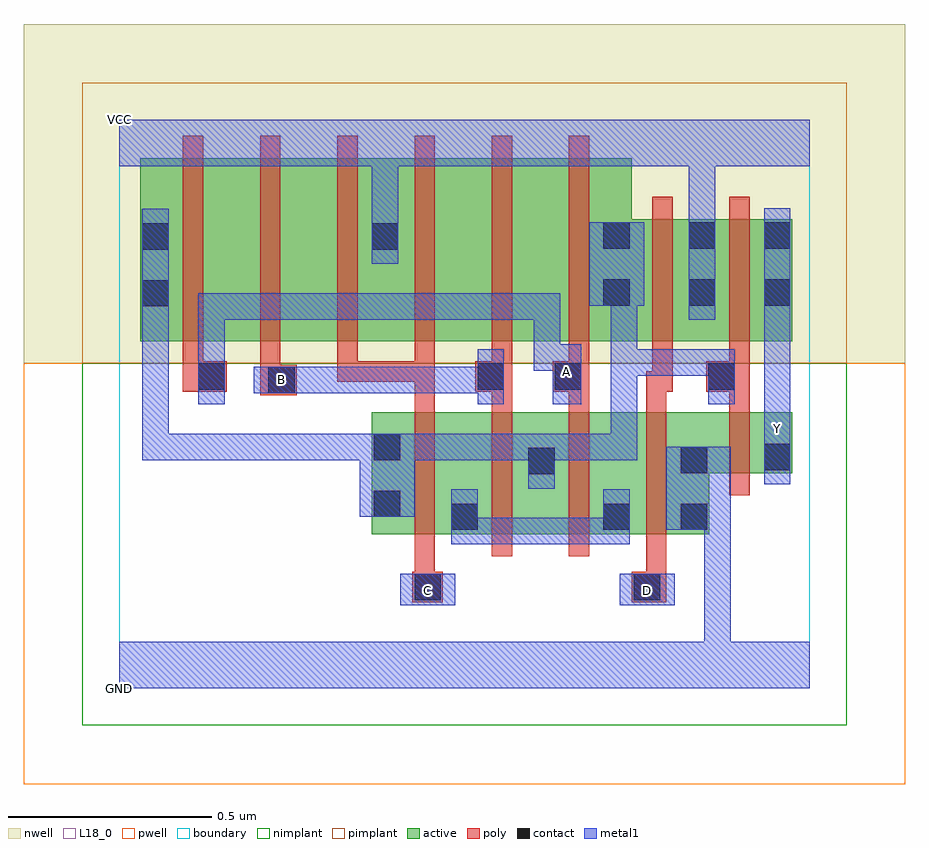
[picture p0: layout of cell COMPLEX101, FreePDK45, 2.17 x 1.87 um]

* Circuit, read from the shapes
.subckt COMPLEX101 A B C D GND VCC Y
M1 n1 C n2 VSUBS nfet w=0.3u l=0.05u
M2 n2 B n1 VSUBS nfet w=0.3u l=0.05u
M3 n1 A n2 VSUBS nfet w=0.3u l=0.05u
M4 GND D n1 VSUBS nfet w=0.3u l=0.05u
M5 Y n2 GND VSUBS nfet w=0.15u l=0.05u
M6 n3 A n2 n4 pfet w=0.45u l=0.05u
M7 n5 B n3 n4 pfet w=0.45u l=0.05u
M8 VCC C n5 n4 pfet w=0.45u l=0.05u
M9 n6 C VCC n4 pfet w=0.45u l=0.05u
M10 n7 B n6 n4 pfet w=0.45u l=0.05u
M11 n2 A n7 n4 pfet w=0.45u l=0.05u
M12 VCC D n2 n4 pfet w=0.3u l=0.05u
M13 Y n2 VCC n4 pfet w=0.3u l=0.05u
.ends

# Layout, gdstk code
import gdstk
lib = gdstk.Library(unit=1e-6, precision=1e-09)
def R(c, l, rs):  # rectangles x0, y0, x1, y1
    for r in rs: c.add(gdstk.rectangle(r[:2], r[2:], *l))
def A(c, l, x, y, w, h, nx, ny, dx, dy):  # array of equal rectangles
    R(c, l, [(x+i*dx, y+j*dy, x+i*dx+w, y+j*dy+h) for i in range(nx) for j in range(ny)])
active = (1, 0)
pwell = (2, 0)
nwell = (3, 0)
nimplant = (4, 0)
pimplant = (5, 0)
poly = (9, 0)
contact = (10, 0)
metal1 = (11, 0)
L18_0 = (18, 0)
boundary = (235, 0)

complex101 = lib.new_cell('COMPLEX101')
R(complex101, active, [(0.622,0.38,0.697,0.68), (0.622,0.38,0.887,0.68), (0.812,0.38,1.077,0.68), (0.812,0.38,0.887,0.547), (1.002,0.38,1.262,0.68), (1.187,0.38,1.452,0.68), (1.377,0.38,1.452,0.68), (1.002,0.382,1.077,0.68), (1.187,0.382,1.262,0.492), (1.377,0.53,1.657,0.68), (1.582,0.53,1.657,0.68), (0.052,0.855,0.277,1.305), (0.052,0.855,0.157,1.2), (0.277,0.855,0.467,1.305), (0.467,0.855,0.692,1.305), (0.617,0.855,0.847,1.305), (0.847,0.855,1.037,1.305), (1.037,0.855,1.262,1.305), (1.187,0.855,1.472,1.155), (1.187,0.855,1.262,1.2), (1.397,0.855,1.472,1.155), (1.397,0.855,1.657,1.155), (1.582,0.855,1.657,1.155), (0.617,0.857,0.692,1.305)])
R(complex101, pwell, [(-0.235,-0.235,1.935,0.8)])
R(complex101, nwell, [(-0.235,0.8,1.935,1.635)])
R(complex101, nimplant, [(-0.09,-0.09,1.79,0.8)])
R(complex101, pimplant, [(-0.09,0.8,1.79,1.49)])
A(complex101, poly, 0.727, 0.325, 0.05, 0.41, 4, 1, 0.19, 0)
A(complex101, poly, 0.917, 0.685, 0.05, 0.095, 3, 1, 0.19, 0)
A(complex101, poly, 0.537, 0.755, 0.05, 0.095, 4, 1, 0.19, 0)
A(complex101, poly, 0.157, 0.8, 0.05, 0.56, 6, 1, 0.19, 0)
R(complex101, poly, [(0.722,0.212,0.797,0.287), (1.262,0.212,1.347,0.287), (0.727,0.237,0.777,0.375), (1.297,0.237,1.347,0.375), (1.502,0.475,1.552,0.735), (0.727,0.685,0.777,0.805), (1.502,0.685,1.552,0.78), (0.347,0.722,0.437,0.797), (0.157,0.73,0.265,0.805), (0.877,0.73,0.967,0.805), (1.067,0.73,1.157,0.805), (1.297,0.73,1.362,0.78), (1.312,0.73,1.362,0.85), (1.445,0.73,1.552,0.805), (0.347,0.747,0.397,0.85), (0.157,0.755,0.207,0.85), (0.537,0.755,0.587,0.805), (0.537,0.755,0.777,0.805), (0.727,0.755,0.777,0.805), (0.727,0.755,0.777,0.805), (0.727,0.755,0.777,0.805), (1.502,0.755,1.552,0.85), (1.312,0.8,1.362,1.21), (1.502,0.8,1.552,1.21)])
R(complex101, contact, [(0.727,0.217,0.792,0.282), (1.267,0.217,1.332,0.282), (0.817,0.39,0.882,0.455), (1.192,0.39,1.257,0.455), (1.382,0.39,1.447,0.455), (0.627,0.422,0.692,0.487), (1.007,0.527,1.072,0.592), (1.382,0.53,1.447,0.595), (1.587,0.537,1.652,0.602), (0.627,0.562,0.692,0.627), (0.367,0.727,0.432,0.792), (0.195,0.735,0.26,0.8), (0.882,0.735,0.947,0.8), (1.072,0.735,1.137,0.8), (1.45,0.735,1.515,0.8), (0.057,0.94,0.122,1.005), (1.192,0.942,1.257,1.007), (1.402,0.942,1.467,1.007), (1.587,0.942,1.652,1.007), (0.057,1.08,0.122,1.145), (0.622,1.08,0.687,1.145), (1.192,1.082,1.257,1.147), (1.402,1.082,1.467,1.147), (1.587,1.082,1.652,1.147)])
R(complex101, metal1, [(0,0,1.7,0.115), (1.44,0.05,1.505,0.115), (1.44,0.05,1.505,0.115), (1.44,0.05,1.505,0.115), (1.44,0.05,1.505,0.115), (1.44,0.05,1.505,0.115), (1.44,0.05,1.505,0.115), (1.44,0.05,1.505,0.455), (0.692,0.205,0.827,0.282), (1.232,0.205,1.367,0.282), (0.817,0.355,0.882,0.42), (0.817,0.355,0.882,0.42), (0.817,0.355,0.882,0.49), (0.817,0.355,1.085,0.42), (1.02,0.355,1.085,0.42), (1.02,0.355,1.085,0.42), (1.02,0.355,1.085,0.42), (1.02,0.355,1.257,0.42), (1.192,0.355,1.257,0.49), (1.347,0.39,1.505,0.595), (0.592,0.422,0.727,0.627), (1.007,0.492,1.072,0.627), (1.587,0.502,1.652,0.637), (0.057,0.562,0.122,0.627), (0.057,0.562,0.122,0.627), (0.057,0.562,0.122,0.627), (0.057,0.562,0.26,0.627), (0.057,0.562,0.122,0.97), (0.195,0.562,0.26,0.627), (0.195,0.562,0.397,0.627), (0.332,0.562,0.397,0.627), (0.332,0.562,0.397,0.627), (0.332,0.562,0.397,0.627), (0.332,0.562,0.607,0.627), (0.542,0.562,0.607,0.627), (0.542,0.562,0.657,0.627), (0.662,0.562,0.745,0.627), (0.68,0.562,0.745,0.627), (0.68,0.562,0.935,0.627), (0.87,0.562,0.935,0.627), (0.87,0.562,0.935,0.627), (0.87,0.562,0.935,0.627), (0.87,0.562,1.072,0.627), (1.007,0.562,1.085,0.627), (1.02,0.562,1.085,0.627), (1.02,0.562,1.275,0.627), (1.21,0.562,1.275,0.627), (1.21,0.562,1.275,0.835), (1.587,0.572,1.652,0.637), (1.587,0.572,1.652,0.707), (1.587,0.642,1.652,0.972), (0.195,0.7,0.26,0.835), (0.882,0.7,0.947,0.835), (1.067,0.7,1.137,0.847), (1.45,0.7,1.515,0.835), (0.332,0.727,0.467,0.792), (0.402,0.727,0.467,0.792), (0.402,0.727,0.467,0.792), (0.402,0.727,0.607,0.792), (0.542,0.727,0.607,0.792), (0.542,0.727,0.607,0.792), (0.542,0.727,0.607,0.792), (0.542,0.727,0.745,0.792), (0.68,0.727,0.745,0.792), (0.68,0.727,0.935,0.792), (0.87,0.727,0.935,0.792), (0.87,0.727,0.947,0.792), (0.195,0.77,0.26,0.835), (0.195,0.77,0.26,0.835), (0.195,0.77,0.26,0.972), (1.21,0.77,1.275,0.835), (1.21,0.77,1.275,0.835), (1.21,0.77,1.275,0.835), (1.21,0.77,1.515,0.835), (1.21,0.77,1.275,1.007), (1.45,0.77,1.515,0.835), (1.45,0.77,1.515,0.835), (1.02,0.782,1.085,0.847), (1.02,0.782,1.132,0.847), (1.02,0.782,1.085,0.972), (0.057,0.905,0.122,1.18), (0.057,0.905,0.122,0.97), (0.057,0.905,0.122,0.97), (0.195,0.907,0.26,0.972), (0.195,0.907,0.47,0.972), (0.405,0.907,0.47,0.972), (0.405,0.907,0.47,0.972), (0.405,0.907,0.47,0.972), (0.405,0.907,0.607,0.972), (0.542,0.907,0.607,0.972), (0.542,0.907,0.607,0.972), (0.542,0.907,0.607,0.972), (0.542,0.907,0.745,0.972), (0.68,0.907,0.745,0.972), (0.68,0.907,0.935,0.972), (0.87,0.907,0.935,0.972), (0.87,0.907,0.935,0.972), (0.87,0.907,0.935,0.972), (0.87,0.907,1.085,0.972), (1.02,0.907,1.085,0.972), (1.402,0.907,1.467,1.182), (1.587,0.907,1.652,1.182), (1.157,0.942,1.292,1.147), (0.622,1.045,0.687,1.18), (0.622,1.115,0.687,1.35), (1.402,1.117,1.467,1.182), (1.402,1.117,1.467,1.182), (1.402,1.117,1.467,1.35), (0,1.285,1.7,1.4)])
R(complex101, L18_0, [(0,0,1.7,0.115), (1.44,0.05,1.505,0.115), (1.44,0.05,1.505,0.115), (1.44,0.05,1.505,0.115), (1.44,0.05,1.505,0.115), (1.44,0.05,1.505,0.115), (1.44,0.05,1.505,0.115), (1.44,0.05,1.505,0.455), (0.692,0.205,0.827,0.282), (1.232,0.205,1.367,0.282), (0.727,0.207,0.792,0.272), (1.267,0.207,1.332,0.272), (1.347,0.39,1.505,0.595), (1.587,0.502,1.652,0.637), (1.587,0.572,1.652,0.707), (1.587,0.572,1.652,0.637), (1.587,0.607,1.652,0.672), (1.587,0.642,1.652,0.972), (0.195,0.7,0.26,0.835), (0.882,0.7,0.947,0.835), (1.067,0.7,1.137,0.847), (0.332,0.727,0.467,0.792), (0.367,0.727,0.432,0.792), (0.402,0.727,0.467,0.792), (0.402,0.727,0.467,0.792), (0.402,0.727,0.607,0.792), (0.542,0.727,0.607,0.792), (0.542,0.727,0.607,0.792), (0.542,0.727,0.607,0.792), (0.542,0.727,0.745,0.792), (0.68,0.727,0.745,0.792), (0.68,0.727,0.935,0.792), (0.87,0.727,0.935,0.792), (0.87,0.727,0.947,0.792), (1.067,0.747,1.132,0.812), (0.195,0.77,0.26,0.835), (0.195,0.77,0.26,0.835), (0.195,0.77,0.26,0.972), (1.02,0.782,1.085,0.847), (1.02,0.782,1.085,0.972), (1.02,0.782,1.132,0.847), (0.195,0.907,0.26,0.972), (0.195,0.907,0.47,0.972), (0.405,0.907,0.47,0.972), (0.405,0.907,0.47,0.972), (0.405,0.907,0.47,0.972), (0.405,0.907,0.607,0.972), (0.542,0.907,0.607,0.972), (0.542,0.907,0.607,0.972), (0.542,0.907,0.607,0.972), (0.542,0.907,0.745,0.972), (0.68,0.907,0.745,0.972), (0.68,0.907,0.935,0.972), (0.87,0.907,0.935,0.972), (0.87,0.907,0.935,0.972), (0.87,0.907,0.935,0.972), (0.87,0.907,1.085,0.972), (1.02,0.907,1.085,0.972), (1.402,0.907,1.467,1.182), (1.587,0.907,1.652,1.182), (0.622,1.045,0.687,1.18), (0.622,1.115,0.687,1.35), (1.402,1.117,1.467,1.182), (1.402,1.117,1.467,1.182), (1.402,1.117,1.467,1.35), (0,1.285,1.7,1.4)])
R(complex101, boundary, [(0,0,1.7,1.4)])
complex101.add(gdstk.Label('A', (1.1,0.78), layer=11, texttype=0))
complex101.add(gdstk.Label('B', (0.4,0.76), layer=11, texttype=0))
complex101.add(gdstk.Label('C', (0.76,0.24), layer=11, texttype=0))
complex101.add(gdstk.Label('D', (1.3,0.24), layer=11, texttype=0))
complex101.add(gdstk.Label('Y', (1.62,0.64), layer=11, texttype=0))
complex101.add(gdstk.Label('VCC', (0,1.4), layer=11, texttype=0))
complex101.add(gdstk.Label('GND', (0,0), layer=11, texttype=0))

lib.write_gds('COMPLEX101.gds')
